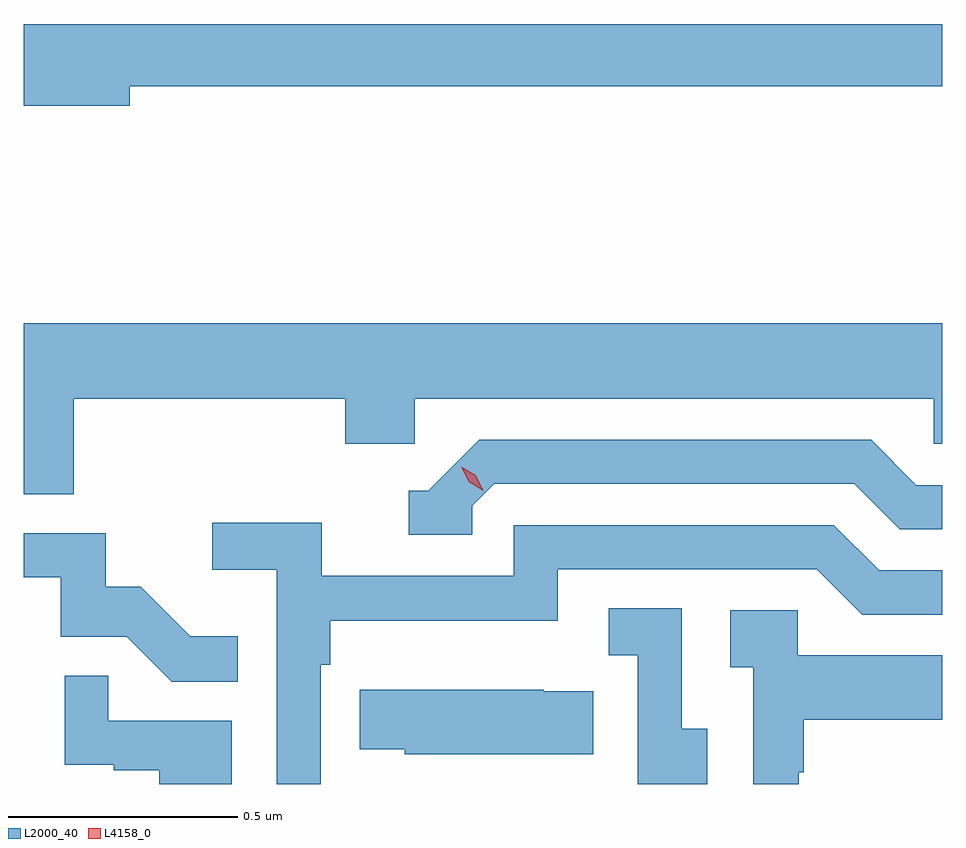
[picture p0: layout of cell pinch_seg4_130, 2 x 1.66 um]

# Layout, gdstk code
import gdstk
lib = gdstk.Library(unit=1e-6, precision=1e-09)
def P(c, l, *ps):  # polygons
    for p in ps: c.add(gdstk.Polygon(p, *l))
L2000_40 = (2000, 40)
L4158_0 = (4158, 0)

pinch_seg4_130 = lib.new_cell('pinch_seg4_130')
P(pinch_seg4_130, L2000_40, [(1046.398,797.5),(1048.167,797.5),(1048.167,797.636),(1046.167,797.636),(1046.167,797.458),(1046.398,797.458)],
  [(1046.167,796.612),(1046.276,796.612),(1046.276,796.82),(1046.867,796.82),(1046.867,796.722),(1047.018,796.722),(1047.018,796.82),(1048.149,796.82),(1048.149,796.722),(1048.167,796.722),(1048.167,796.984),(1046.167,796.984)],
  [(1047.144,796.587),(1047.192,796.635),(1047.975,796.635),(1048.074,796.536),(1048.167,796.536),(1048.167,796.632),(1048.111,796.632),(1048.012,796.731),(1047.159,796.731),(1047.048,796.62),(1047.005,796.62),(1047.005,796.524),(1047.144,796.524)],
  [(1046.814,796.241),(1046.834,796.241),(1046.834,796.337),(1047.33,796.337),(1047.33,796.449),(1047.894,796.449),(1047.993,796.35),(1048.167,796.35),(1048.167,796.446),(1048.03,796.446),(1047.931,796.545),(1047.234,796.545),(1047.234,796.434),(1046.816,796.434),(1046.816,796.55),(1046.577,796.55),(1046.577,796.448),(1046.718,796.448),(1046.718,795.981),(1046.814,795.981)],
  [(1046.633,796.303),(1046.529,796.303),(1046.422,796.41),(1046.346,796.41),(1046.346,796.527),(1046.167,796.527),(1046.167,796.431),(1046.247,796.431),(1046.247,796.302),(1046.391,796.302),(1046.489,796.204),(1046.633,796.204)],
  [(1047.655,796.101),(1047.6,796.101),(1047.6,796.364),(1047.441,796.364),(1047.441,796.261),(1047.504,796.261),(1047.504,795.981),(1047.655,795.981)],
  [(1047.855,796.007),(1047.865,796.007),(1047.865,796.121),(1048.167,796.121),(1048.167,796.261),(1047.852,796.261),(1047.852,796.359),(1047.705,796.359),(1047.705,796.235),(1047.756,796.235),(1047.756,795.981),(1047.855,795.981)],
  [(1046.62,796.119),(1046.351,796.119),(1046.351,796.217),(1046.256,796.217),(1046.256,796.023),(1046.363,796.023),(1046.363,796.011),(1046.462,796.011),(1046.462,795.981),(1046.62,795.981)],
  [(1047.407,796.183),(1047.299,796.183),(1047.299,796.186),(1046.899,796.186),(1046.899,796.057),(1046.997,796.057),(1046.997,796.046),(1047.407,796.046)])
P(pinch_seg4_130, L4158_0, [(1047.167,796.62),(1047.136,796.639),(1047.12,796.672),(1047.12,796.672),(1047.12,796.672),(1047.151,796.653),(1047.167,796.62),(1047.167,796.62)])

lib.write_gds('pinch_seg4_130.gds')
